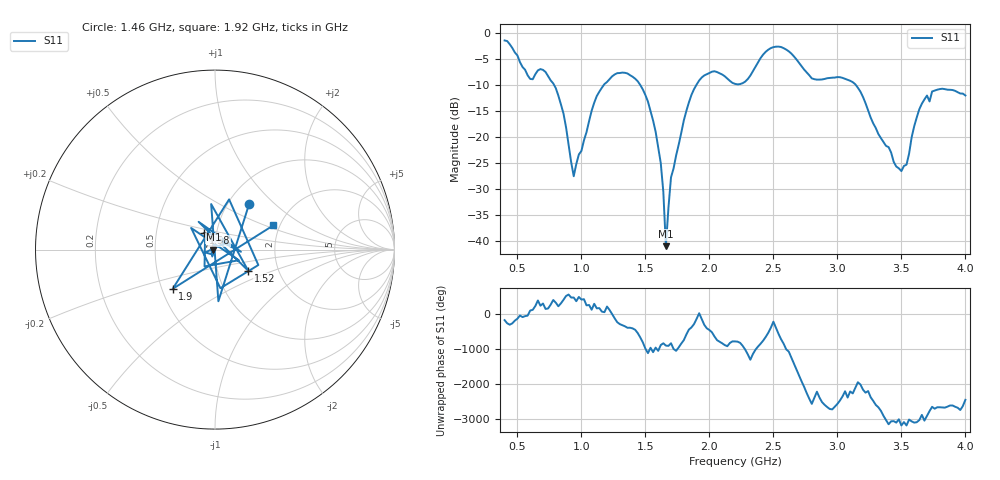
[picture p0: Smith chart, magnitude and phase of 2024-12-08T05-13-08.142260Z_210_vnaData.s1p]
!Created with skrf (http://scikit-rf.org).
# Hz S RI R 50.0
!freq ReS11 ImS11
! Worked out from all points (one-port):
!   181 points, 400 MHz to 4 GHz, reference 50 ohm
!   lowest |S11| = -40.9 dB at 1.66 GHz (marker M1), VSWR 1.02, Z = 49.1 - j0.0359 ohm
!   |S11| at or under -10 dB: 788 MHz to 1.173 GHz (385.1 MHz wide, 39.3 % of centre); 1.461 GHz to 1.897 GHz (435.2 MHz wide, 25.9 % of centre); 3.146 GHz to end of sweep
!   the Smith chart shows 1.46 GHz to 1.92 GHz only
!   S11 on the Smith chart (normalised r, x): 1.46 GHz: 1.25, +0.71; 1.52 GHz: 1.41, -0.35; 1.58 GHz: 0.87, +0.16; 1.9 GHz: 0.57, -0.28; 1.92 GHz: 1.85, +0.57
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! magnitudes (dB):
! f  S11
! 400 MHz  -1.4
! 600 MHz  -8.8
! 720 MHz  -7.4
! 860 MHz  -15.4
! 940 MHz  -27.5
! 1.12 GHz  -12.1
! 1.3 GHz  -7.6
! 1.46 GHz  -9.9
! 1.52 GHz  -13.1
! 1.58 GHz  -18.9
! 1.62 GHz  -24.9
! 1.64 GHz  -30.5
! 1.66 GHz  -40.9
! 1.7 GHz  -27.7
! 1.76 GHz  -21.4
! 1.9 GHz  -9.9
! 1.92 GHz  -9.1
! 2.04 GHz  -7.3
! 2.2 GHz  -9.7
! 2.48 GHz  -2.8
! 2.66 GHz  -4.4
! 2.8 GHz  -8.7
! 3.1 GHz  -9.1
! 3.46 GHz  -25.6
! 3.56 GHz  -23.1
! 3.62 GHz  -16.2
! 3.7 GHz  -12.0
! 4 GHz  -11.9
